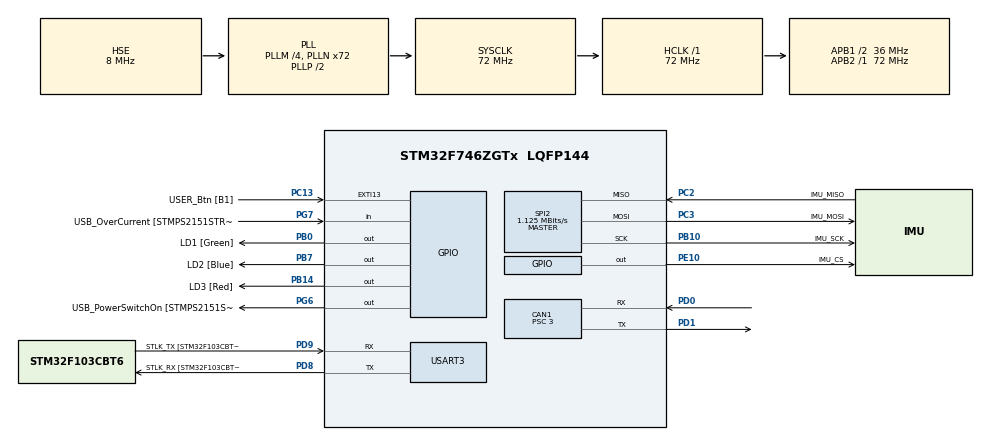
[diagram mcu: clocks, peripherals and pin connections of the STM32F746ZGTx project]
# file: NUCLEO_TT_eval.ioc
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CAN1.BS1=CAN_BS1_8TQ
CAN1.BS2=CAN_BS2_3TQ
CAN1.CalculateBaudRate=999999
CAN1.CalculateTimeBit=1000
CAN1.CalculateTimeQuantum=83.33333333333334
CAN1.Prescaler=3
CAN1.SJW=CAN_SJW_3TQ
IWDG.Reload=879
Mcu.Family=STM32F7
Mcu.Name=STM32F746ZGTx
Mcu.Package=LQFP144
NVIC.PriorityGroup=NVIC_PRIORITYGROUP_4
NVIC.TIM5_IRQn=true\:0\:0\:false\:false\:true\:true\:true\:true
NVIC.USART3_IRQn=true\:0\:0\:false\:false\:true\:true\:true\:true
PA1.GPIO_Label=RMII_REF_CLK [LAN8742A-CZ-TR_REFCLK0]
PA1.Signal=ETH_REF_CLK
PA10.GPIO_Label=USB_ID
PA10.Signal=USB_OTG_FS_ID
PA11.GPIO_Label=USB_DM
PA11.Signal=USB_OTG_FS_DM
PA12.GPIO_Label=USB_DP
PA12.Signal=USB_OTG_FS_DP
PA13.GPIO_Label=TMS
PA13.Mode=Serial_Wire
PA13.Signal=SYS_JTMS-SWDIO
PA14.GPIO_Label=TCK
PA14.Mode=Serial_Wire
PA14.Signal=SYS_JTCK-SWCLK
PA2.GPIO_Label=RMII_MDIO [LAN8742A-CZ-TR_MDIO]
PA2.Signal=ETH_MDIO
PA7.GPIO_Label=RMII_CRS_DV [LAN8742A-CZ-TR_CRS_DV]
PA7.Signal=ETH_CRS_DV
PA8.GPIO_Label=USB_SOF [TP1]
PA8.Signal=USB_OTG_FS_SOF
PA9.GPIO_Label=USB_VBUS
PA9.Signal=USB_OTG_FS_VBUS
PB0.GPIO_Label=LD1 [Green]
PB0.Signal=GPIO_Output
PB10.GPIO_Label=IMU_SCK
PB10.Mode=Full_Duplex_Master
PB10.Signal=SPI2_SCK
PB13.GPIO_Label=RMII_TXD1 [LAN8742A-CZ-TR_TXD1]
PB13.Signal=ETH_TXD1
PB14.GPIO_Label=LD3 [Red]
PB14.Signal=GPIO_Output
PB3.GPIO_Label=SW0
PB3.Signal=SYS_JTDO-SWO
PB7.GPIO_Label=LD2 [Blue]
PB7.Signal=GPIO_Output
PC1.GPIO_Label=RMII_MDC [LAN8742A-CZ-TR_MDC]
PC1.Signal=ETH_MDC
PC13.GPIO_Label=USER_Btn [B1]
PC13.Signal=GPXTI13
PC14/OSC32_IN.Mode=LSE-External-Oscillator
PC14/OSC32_IN.Signal=RCC_OSC32_IN
PC15/OSC32_OUT.Mode=LSE-External-Oscillator
PC15/OSC32_OUT.Signal=RCC_OSC32_OUT
PC2.GPIO_Label=IMU_MISO
PC2.Mode=Full_Duplex_Master
PC2.Signal=SPI2_MISO
PC3.GPIO_Label=IMU_MOSI
PC3.Mode=Full_Duplex_Master
PC3.Signal=SPI2_MOSI
PC4.GPIO_Label=RMII_RXD0 [LAN8742A-CZ-TR_RXD0]
PC4.Signal=ETH_RXD0
PC5.GPIO_Label=RMII_RXD1 [LAN8742A-CZ-TR_RXD1]
PC5.Signal=ETH_RXD1
PD0.Mode=CAN_Activate
PD0.Signal=CAN1_RX
PD1.Mode=CAN_Activate
PD1.Signal=CAN1_TX
PD8.GPIO_Label=STLK_RX [STM32F103CBT6_PA3]
PD8.GPIO_PuPd=GPIO_PULLUP
PD8.Mode=Asynchronous
PD8.Signal=USART3_TX
PD9.GPIO_Label=STLK_TX [STM32F103CBT6_PA2]
PD9.GPIO_PuPd=GPIO_PULLUP
PD9.Mode=Asynchronous
PD9.Signal=USART3_RX
PE10.GPIO_Label=IMU_CS
PE10.Signal=GPIO_Output
PG11.GPIO_Label=RMII_TX_EN [LAN8742A-CZ-TR_TXEN]
PG11.Signal=ETH_TX_EN
PG13.GPIO_Label=RMII_TXD0 [LAN8742A-CZ-TR_TXD0]
PG13.Signal=ETH_TXD0
PG6.GPIO_Label=USB_PowerSwitchOn [STMPS2151STR_EN]
PG6.Signal=GPIO_Output
PG7.GPIO_Label=USB_OverCurrent [STMPS2151STR_FAULT]
PG7.Signal=GPIO_Input
PH0/OSC_IN.GPIO_Label=MCO [STM32F103CBT6_PA8]
PH0/OSC_IN.Mode=HSE-External-Clock-Source
PH0/OSC_IN.Signal=RCC_OSC_IN
PH1/OSC_OUT.Mode=HSE-External-Clock-Source
PH1/OSC_OUT.Signal=RCC_OSC_OUT
ProjectManager.HeapSize=0x200
ProjectManager.StackSize=0x400
ProjectManager.TargetToolchain=STM32CubeIDE
RCC.48MHZClocksFreq_Value=24000000
RCC.AHBFreq_Value=72000000
RCC.APB1CLKDivider=RCC_HCLK_DIV2
RCC.APB1Freq_Value=36000000
RCC.APB1TimFreq_Value=72000000
RCC.APB2Freq_Value=72000000
RCC.APB2TimFreq_Value=72000000
RCC.CortexFreq_Value=72000000
RCC.HCLKFreq_Value=72000000
RCC.HSE_VALUE=8000000
RCC.HSI_VALUE=16000000
RCC.PLLM=4
RCC.PLLMUL=RCC_PLL_MUL9
RCC.PLLN=72
RCC.PLLQ=3
RCC.PLLSourceVirtual=RCC_PLLSOURCE_HSE
RCC.PRESCALERUSB=RCC_USBCLKSOURCE_PLL_DIV1_5
RCC.SYSCLKFreq_VALUE=72000000
RCC.SYSCLKSource=RCC_SYSCLKSOURCE_PLLCLK
RCC.SYSCLKSourceVirtual=RCC_SYSCLKSOURCE_PLLCLK
RCC.USBFreq_Value=48000000
RCC.VCOOutputFreq_Value=144000000
SPI2.BaudRatePrescaler=SPI_BAUDRATEPRESCALER_32
SPI2.CLKPhase=SPI_PHASE_2EDGE
SPI2.CalculateBaudRate=1.125 MBits/s
SPI2.DataSize=SPI_DATASIZE_8BIT
SPI2.Direction=SPI_DIRECTION_2LINES
SPI2.Mode=SPI_MODE_MASTER
SPI2.VirtualType=VM_MASTER
TIM5.Period=1000-1
TIM5.Prescaler=72-1
USART3.VirtualMode-Asynchronous=VM_ASYNC
VP_IWDG_VS_IWDG.Mode=IWDG_Activate
VP_TIM5_VS_ClockSourceINT.Mode=Internal
board=NUCLEO-F746ZG

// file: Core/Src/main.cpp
/* USER CODE BEGIN Header */
/**
  ******************************************************************************
  * @file           : main.c
  * @brief          : Main program body
  ******************************************************************************
  * @attention
  *
  * Copyright (c) 2024 STMicroelectronics.
  * All rights reserved.
  *
  * This software is licensed under terms that can  Sbe found in the LICENSE file
  * in the root directory of this software component.
  * If no LICENSE file comes with this software, it is provided AS-IS.
  *
  ******************************************************************************
  */
/* USER CODE END Header */
#include "main.h"

/* USER CODE BEGIN Includes */
#include "system.h"
#include "CNI.h"

#include "taskHeartbeat.h"
#include "taskWatchdog.h"
#include "taskIMUgetData.h"
#include "taskCNIsendData.h"

#include "timeTriggeredScheduler.h"
/* USER CODE END Includes */

/* USER CODE BEGIN PD */
#define LED_HEARTBEAT_GPIO_Port LD1_GPIO_Port
#define LED_HEARTBEAT_GPIO_Pin LD1_Pin

#define LED_FAIL_SILENT_GPIO_Port LD3_GPIO_Port
#define LED_FAIL_SILENT_GPIO_Pin LD3_Pin

#define HANDLE_MSG_CNI_SEND_IMU_DATA 1
/* USER CODE END PD */

CAN_HandleTypeDef hcan1;

SPI_HandleTypeDef hspi2;

TIM_HandleTypeDef htim5;

UART_HandleTypeDef huart3;

/* USER CODE BEGIN PV */
IWDG_HandleTypeDef hiwdg;

static myTimer_t myTimer5;
static myUART_t myUART3;

/* USER CODE END PV */

void SystemClock_Config(void);
static void MX_GPIO_Init(void);
static void MX_USART3_UART_Init(void);
static void MX_SPI2_Init(void);
static void MX_TIM5_Init(void);
static void MX_CAN1_Init(void);
/* USER CODE BEGIN PFP */

static void watchdog_config(void);

static void timer_5_period_elapsed_callback(TIM_HandleTypeDef *);
static void uart_3_new_data_callback(UART_HandleTypeDef*);
/* USER CODE END PFP */

int main(void)
{
  /* USER CODE BEGIN 1 */
  system_t theSystem;
  evBuffer theEventsQueue;
  event_t  theEvent;

  taskHeartbeat_t taskHeartbeat;
  taskWatchdog_t taskWatchdog;
  taskIMUgetData_t taskIMUgetData;
  taskCNIsendData_t taskCNIsendIMUdata;

  timeTriggeredScheduler_t theTTscheduler;

  uint16_t aux;

  /* USER CODE END 1 */

  /* MCU Configuration--------------------------------------------------------*/

  /* Reset of all peripherals, Initializes the Flash interface and the Systick. */
  HAL_Init();

  /* USER CODE BEGIN Init */
  watchdog_config();

  /* USER CODE END Init */

  /* Configure the system clock */
  SystemClock_Config();

  /* Initialize all configured peripherals */
  MX_GPIO_Init();
  MX_USART3_UART_Init();
  MX_SPI2_Init();
  MX_TIM5_Init();
  MX_CAN1_Init();
  /* USER CODE BEGIN 2 */

  // Inicialización de la IMU =====================================
  gpio imuCS(IMU_CS_GPIO_Port, IMU_CS_Pin);

  phandler_spi<> spi2(&hspi2, &imuCS, COMM_MODE::BLCK);

  ICM42688::config_FIFO icmFifoCnf =
  {
		  .watermark = 1,
		  .mode = ICM42688::FIFO_MODE::BYPASS,
  };

  ICM42688::config_INT icmIntCnf =
  {
			.int1Source = ICM42688::INT_SOURCE::DISABLED,
			.int1Mode = ICM42688::INT_MODE::DISABLED,
			//.int1Source = ICM42688::INT_SOURCE::DATA_RDY,
			//.int1Mode = ICM42688::INT_MODE::PULSED_PP_HIGH,
			.int2Source = ICM42688::INT_SOURCE::DISABLED,
			.int2Mode = ICM42688::INT_MODE::DISABLED,
  };

  ICM42688::Config icmCnf =
  {
		.gyroFSR 					= ICM42688::GYRO_CNF::FSR::FSR_250,
		.gyroODR 					= ICM42688::GYRO_CNF::ODR::ODR_1000,
		.accelFSR 					= ICM42688::ACCEL_CNF::FSR::FSR_4,
		.accelODR 					= ICM42688::ACCEL_CNF::ODR::ODR_1000,
		.fifoCnf					= icmFifoCnf,
		.intCnf						= icmIntCnf,
  };

  ICM42688::icm42688 imu(icmCnf, &spi2, &imuCS);

  // Inicialización del LED heartbeat==============================
  gpio ledHeartbeat(LED_HEARTBEAT_GPIO_Port, LED_HEARTBEAT_GPIO_Pin);

  // Inicialización de la CNI
  CNI_constructor(&hcan1);
  CNI_init();

  // Creación de las tareas========================================
  taskWatchdog_constructor(&taskWatchdog,
		  DELAY_TASK_WATCHDOG_TICKS_NORMAL,
		  PERIOD_TASK_WATCHDOG_TICKS_NORMAL,
		  WCET_TASK_WATCHDOG_US,
		  BCET_TASK_WATCHDOG_US,
		  &hiwdg);

  taskHeartbeat_constructor(&taskHeartbeat,
		  DELAY_TASK_HEARTBEAT_TICKS_NORMAL,
		  PERIOD_TASK_HEARTBEAT_TICKS_NORMAL,
		  WCET_TASK_HEARTBEAT_US,
		  BCET_TASK_HEARTBEAT_US,
		  &ledHeartbeat);

  taskIMUgetData_constructor(&taskIMUgetData,
		  DELAY_TASK_IMU_TICKS_NORMAL,
		  PERIOD_TASK_IMU_TICKS_NORMAL,
		  WCET_TASK_IMU_US,
		  BCET_TASK_IMU_US,
		  &imu, HANDLE_MSG_CNI_SEND_IMU_DATA);

  taskCNIsendData_constructor(&taskCNIsendIMUdata,
		  DELAY_TASK_CNI_SEND_IMU_TICKS_NORMAL,
		  PERIOD_TASK_CNI_SEND_IMU_TICKS_NORMAL,
		  WCET_TASK_CNI_SEND_IMU_US,
		  BCET_TASK_CNI_SEND_IMU_US,
		  HANDLE_MSG_CNI_SEND_IMU_DATA);

  // Inicialización del scheduler==================================
  myTimer_constructor(&myTimer5, &htim5);
  timeTriggeredScheduler_constructor(&theTTscheduler, &myTimer5);
  timeTriggeredScheduler_init(&theTTscheduler);
  timeTriggeredScheduler_add_task(&theTTscheduler, (timeTriggeredTask_t*)&taskHeartbeat);
  timeTriggeredScheduler_add_task(&theTTscheduler, (timeTriggeredTask_t*)&taskWatchdog);
  timeTriggeredScheduler_add_task(&theTTscheduler, (timeTriggeredTask_t*)&taskIMUgetData);
  timeTriggeredScheduler_add_task(&theTTscheduler, (timeTriggeredTask_t*)&taskCNIsendIMUdata);

  // Inicialización del sistema general============================
  gpio ledFailSilent(LED_FAIL_SILENT_GPIO_Port, LED_FAIL_SILENT_GPIO_Pin);
  myUART_constructor(&myUART3, &huart3);
  system_constructor(&theSystem, &theEventsQueue, &theTTscheduler, &myUART3, &ledFailSilent);
  stateMachine_init((stateMachine_t*)&theSystem);

  /* USER CODE END 2 */

  /* Infinite loop */
  while (1)
  {

    /* USER CODE BEGIN 3 */

	  // Se verifica si hay nuevos mensajes a procesar
	  if( (aux = system_has_new_msg(&theSystem)) )
	  {
		  theEventsQueue.write(EV_SYSTEM_NEW_MSG);
	  }

	  // Si hay eventos en la queue ==> se toma 1 y se dispatchea
	  if(!theEventsQueue.is_empty())
	  {
		  theEventsQueue.read(&theEvent);
		  stateMachine_dispatch((stateMachine_t*)&theSystem, theEvent);
	  }
  }
  /* USER CODE END 3 */
}

void SystemClock_Config(void)
{
  RCC_OscInitTypeDef RCC_OscInitStruct = {0};
  RCC_ClkInitTypeDef RCC_ClkInitStruct = {0};

  /** Configure LSE Drive Capability
  */
  HAL_PWR_EnableBkUpAccess();

  /** Configure the main internal regulator output voltage
  */
  __HAL_RCC_PWR_CLK_ENABLE();
  __HAL_PWR_VOLTAGESCALING_CONFIG(PWR_REGULATOR_VOLTAGE_SCALE3);

  /** Initializes the RCC Oscillators according to the specified parameters
  * in the RCC_OscInitTypeDef structure.
  */
  RCC_OscInitStruct.OscillatorType = RCC_OSCILLATORTYPE_LSI|RCC_OSCILLATORTYPE_HSE;
  RCC_OscInitStruct.HSEState = RCC_HSE_BYPASS;
  RCC_OscInitStruct.LSIState = RCC_LSI_ON;
  RCC_OscInitStruct.PLL.PLLState = RCC_PLL_ON;
  RCC_OscInitStruct.PLL.PLLSource = RCC_PLLSOURCE_HSE;
  RCC_OscInitStruct.PLL.PLLM = 4;
  RCC_OscInitStruct.PLL.PLLN = 72;
  RCC_OscInitStruct.PLL.PLLP = RCC_PLLP_DIV2;
  RCC_OscInitStruct.PLL.PLLQ = 3;
  if (HAL_RCC_OscConfig(&RCC_OscInitStruct) != HAL_OK)
  {
    Error_Handler();
  }

  /** Initializes the CPU, AHB and APB buses clocks
  */
  RCC_ClkInitStruct.ClockType = RCC_CLOCKTYPE_HCLK|RCC_CLOCKTYPE_SYSCLK
                              |RCC_CLOCKTYPE_PCLK1|RCC_CLOCKTYPE_PCLK2;
  RCC_ClkInitStruct.SYSCLKSource = RCC_SYSCLKSOURCE_PLLCLK;
  RCC_ClkInitStruct.AHBCLKDivider = RCC_SYSCLK_DIV1;
  RCC_ClkInitStruct.APB1CLKDivider = RCC_HCLK_DIV2;
  RCC_ClkInitStruct.APB2CLKDivider = RCC_HCLK_DIV1;

  if (HAL_RCC_ClockConfig(&RCC_ClkInitStruct, FLASH_LATENCY_2) != HAL_OK)
  {
    Error_Handler();
  }
}

static void MX_CAN1_Init(void)
{

  hcan1.Instance = CAN1;
  hcan1.Init.Prescaler = 3;
  hcan1.Init.Mode = CAN_MODE_NORMAL;
  hcan1.Init.SyncJumpWidth = CAN_SJW_3TQ;
  hcan1.Init.TimeSeg1 = CAN_BS1_8TQ;
  hcan1.Init.TimeSeg2 = CAN_BS2_3TQ;
  hcan1.Init.TimeTriggeredMode = DISABLE;
  hcan1.Init.AutoBusOff = DISABLE;
  hcan1.Init.AutoWakeUp = DISABLE;
  hcan1.Init.AutoRetransmission = DISABLE;
  hcan1.Init.ReceiveFifoLocked = DISABLE;
  hcan1.Init.TransmitFifoPriority = DISABLE;
  if (HAL_CAN_Init(&hcan1) != HAL_OK)
  {
    Error_Handler();
  }

}

static void MX_SPI2_Init(void)
{

  /* SPI2 parameter configuration*/
  hspi2.Instance = SPI2;
  hspi2.Init.Mode = SPI_MODE_MASTER;
  hspi2.Init.Direction = SPI_DIRECTION_2LINES;
  hspi2.Init.DataSize = SPI_DATASIZE_8BIT;
  hspi2.Init.CLKPolarity = SPI_POLARITY_LOW;
  hspi2.Init.CLKPhase = SPI_PHASE_2EDGE;
  hspi2.Init.NSS = SPI_NSS_SOFT;
  hspi2.Init.BaudRatePrescaler = SPI_BAUDRATEPRESCALER_32;
  hspi2.Init.FirstBit = SPI_FIRSTBIT_MSB;
  hspi2.Init.TIMode = SPI_TIMODE_DISABLE;
  hspi2.Init.CRCCalculation = SPI_CRCCALCULATION_DISABLE;
  hspi2.Init.CRCPolynomial = 7;
  hspi2.Init.CRCLength = SPI_CRC_LENGTH_DATASIZE;
  hspi2.Init.NSSPMode = SPI_NSS_PULSE_DISABLE;
  if (HAL_SPI_Init(&hspi2) != HAL_OK)
  {
    Error_Handler();
  }

}

static void MX_TIM5_Init(void)
{

  TIM_ClockConfigTypeDef sClockSourceConfig = {0};
  TIM_MasterConfigTypeDef sMasterConfig = {0};

  htim5.Instance = TIM5;
  htim5.Init.Prescaler = 72-1;
  htim5.Init.CounterMode = TIM_COUNTERMODE_UP;
  htim5.Init.Period = 1000-1;
  htim5.Init.ClockDivision = TIM_CLOCKDIVISION_DIV1;
  htim5.Init.AutoReloadPreload = TIM_AUTORELOAD_PRELOAD_DISABLE;
  if (HAL_TIM_Base_Init(&htim5) != HAL_OK)
  {
    Error_Handler();
  }
  sClockSourceConfig.ClockSource = TIM_CLOCKSOURCE_INTERNAL;
  if (HAL_TIM_ConfigClockSource(&htim5, &sClockSourceConfig) != HAL_OK)
  {
    Error_Handler();
  }
  sMasterConfig.MasterOutputTrigger = TIM_TRGO_RESET;
  sMasterConfig.MasterSlaveMode = TIM_MASTERSLAVEMODE_DISABLE;
  if (HAL_TIMEx_MasterConfigSynchronization(&htim5, &sMasterConfig) != HAL_OK)
  {
    Error_Handler();
  }
  /* USER CODE BEGIN TIM5_Init 2 */
  HAL_TIM_RegisterCallback(&htim5, HAL_TIM_PERIOD_ELAPSED_CB_ID, timer_5_period_elapsed_callback);
  /* USER CODE END TIM5_Init 2 */

}

static void MX_USART3_UART_Init(void)
{

  huart3.Instance = USART3;
  huart3.Init.BaudRate = 115200;
  huart3.Init.WordLength = UART_WORDLENGTH_8B;
  huart3.Init.StopBits = UART_STOPBITS_1;
  huart3.Init.Parity = UART_PARITY_NONE;
  huart3.Init.Mode = UART_MODE_TX_RX;
  huart3.Init.HwFlowCtl = UART_HWCONTROL_NONE;
  huart3.Init.OverSampling = UART_OVERSAMPLING_16;
  huart3.Init.OneBitSampling = UART_ONE_BIT_SAMPLE_DISABLE;
  huart3.AdvancedInit.AdvFeatureInit = UART_ADVFEATURE_NO_INIT;
  if (HAL_UART_Init(&huart3) != HAL_OK)
  {
    Error_Handler();
  }
  /* USER CODE BEGIN USART3_Init 2 */
  HAL_UART_RegisterCallback(&huart3, HAL_UART_RX_COMPLETE_CB_ID, &uart_3_new_data_callback);
  /* USER CODE END USART3_Init 2 */

}

static void MX_GPIO_Init(void)
{
  GPIO_InitTypeDef GPIO_InitStruct = {0};

  /* GPIO Ports Clock Enable */
  __HAL_RCC_GPIOC_CLK_ENABLE();
  __HAL_RCC_GPIOH_CLK_ENABLE();
  __HAL_RCC_GPIOA_CLK_ENABLE();
  __HAL_RCC_GPIOB_CLK_ENABLE();
  __HAL_RCC_GPIOE_CLK_ENABLE();
  __HAL_RCC_GPIOD_CLK_ENABLE();
  __HAL_RCC_GPIOG_CLK_ENABLE();

  /*Configure GPIO pin Output Level */
  HAL_GPIO_WritePin(GPIOB, LD1_Pin|LD3_Pin|LD2_Pin, GPIO_PIN_RESET);

  /*Configure GPIO pin Output Level */
  HAL_GPIO_WritePin(IMU_CS_GPIO_Port, IMU_CS_Pin, GPIO_PIN_RESET);

  /*Configure GPIO pin Output Level */
  HAL_GPIO_WritePin(USB_PowerSwitchOn_GPIO_Port, USB_PowerSwitchOn_Pin, GPIO_PIN_RESET);

  /*Configure GPIO pin : USER_Btn_Pin */
  GPIO_InitStruct.Pin = USER_Btn_Pin;
  GPIO_InitStruct.Mode = GPIO_MODE_IT_RISING;
  GPIO_InitStruct.Pull = GPIO_NOPULL;
  HAL_GPIO_Init(USER_Btn_GPIO_Port, &GPIO_InitStruct);

  /*Configure GPIO pins : RMII_MDC_Pin RMII_RXD0_Pin RMII_RXD1_Pin */
  GPIO_InitStruct.Pin = RMII_MDC_Pin|RMII_RXD0_Pin|RMII_RXD1_Pin;
  GPIO_InitStruct.Mode = GPIO_MODE_AF_PP;
  GPIO_InitStruct.Pull = GPIO_NOPULL;
  GPIO_InitStruct.Speed = GPIO_SPEED_FREQ_VERY_HIGH;
  GPIO_InitStruct.Alternate = GPIO_AF11_ETH;
  HAL_GPIO_Init(GPIOC, &GPIO_InitStruct);

  /*Configure GPIO pins : RMII_REF_CLK_Pin RMII_MDIO_Pin RMII_CRS_DV_Pin */
  GPIO_InitStruct.Pin = RMII_REF_CLK_Pin|RMII_MDIO_Pin|RMII_CRS_DV_Pin;
  GPIO_InitStruct.Mode = GPIO_MODE_AF_PP;
  GPIO_InitStruct.Pull = GPIO_NOPULL;
  GPIO_InitStruct.Speed = GPIO_SPEED_FREQ_VERY_HIGH;
  GPIO_InitStruct.Alternate = GPIO_AF11_ETH;
  HAL_GPIO_Init(GPIOA, &GPIO_InitStruct);

  /*Configure GPIO pins : LD1_Pin LD3_Pin LD2_Pin */
  GPIO_InitStruct.Pin = LD1_Pin|LD3_Pin|LD2_Pin;
  GPIO_InitStruct.Mode = GPIO_MODE_OUTPUT_PP;
  GPIO_InitStruct.Pull = GPIO_NOPULL;
  GPIO_InitStruct.Speed = GPIO_SPEED_FREQ_LOW;
  HAL_GPIO_Init(GPIOB, &GPIO_InitStruct);

  /*Configure GPIO pin : IMU_CS_Pin */
  GPIO_InitStruct.Pin = IMU_CS_Pin;
  GPIO_InitStruct.Mode = GPIO_MODE_OUTPUT_PP;
  GPIO_InitStruct.Pull = GPIO_NOPULL;
  GPIO_InitStruct.Speed = GPIO_SPEED_FREQ_LOW;
  HAL_GPIO_Init(IMU_CS_GPIO_Port, &GPIO_InitStruct);

  /*Configure GPIO pin : RMII_TXD1_Pin */
  GPIO_InitStruct.Pin = RMII_TXD1_Pin;
  GPIO_InitStruct.Mode = GPIO_MODE_AF_PP;
  GPIO_InitStruct.Pull = GPIO_NOPULL;
  GPIO_InitStruct.Speed = GPIO_SPEED_FREQ_VERY_HIGH;
  GPIO_InitStruct.Alternate = GPIO_AF11_ETH;
  HAL_GPIO_Init(RMII_TXD1_GPIO_Port, &GPIO_InitStruct);

  /*Configure GPIO pin : USB_PowerSwitchOn_Pin */
  GPIO_InitStruct.Pin = USB_PowerSwitchOn_Pin;
  GPIO_InitStruct.Mode = GPIO_MODE_OUTPUT_PP;
  GPIO_InitStruct.Pull = GPIO_NOPULL;
  GPIO_InitStruct.Speed = GPIO_SPEED_FREQ_LOW;
  HAL_GPIO_Init(USB_PowerSwitchOn_GPIO_Port, &GPIO_InitStruct);

  /*Configure GPIO pin : USB_OverCurrent_Pin */
  GPIO_InitStruct.Pin = USB_OverCurrent_Pin;
  GPIO_InitStruct.Mode = GPIO_MODE_INPUT;
  GPIO_InitStruct.Pull = GPIO_NOPULL;
  HAL_GPIO_Init(USB_OverCurrent_GPIO_Port, &GPIO_InitStruct);

  /*Configure GPIO pins : USB_SOF_Pin USB_ID_Pin USB_DM_Pin USB_DP_Pin */
  GPIO_InitStruct.Pin = USB_SOF_Pin|USB_ID_Pin|USB_DM_Pin|USB_DP_Pin;
  GPIO_InitStruct.Mode = GPIO_MODE_AF_PP;
  GPIO_InitStruct.Pull = GPIO_NOPULL;
  GPIO_InitStruct.Speed = GPIO_SPEED_FREQ_VERY_HIGH;
  GPIO_InitStruct.Alternate = GPIO_AF10_OTG_FS;
  HAL_GPIO_Init(GPIOA, &GPIO_InitStruct);

  /*Configure GPIO pin : USB_VBUS_Pin */
  GPIO_InitStruct.Pin = USB_VBUS_Pin;
  GPIO_InitStruct.Mode = GPIO_MODE_INPUT;
  GPIO_InitStruct.Pull = GPIO_NOPULL;
  HAL_GPIO_Init(USB_VBUS_GPIO_Port, &GPIO_InitStruct);

  /*Configure GPIO pins : RMII_TX_EN_Pin RMII_TXD0_Pin */
  GPIO_InitStruct.Pin = RMII_TX_EN_Pin|RMII_TXD0_Pin;
  GPIO_InitStruct.Mode = GPIO_MODE_AF_PP;
  GPIO_InitStruct.Pull = GPIO_NOPULL;
  GPIO_InitStruct.Speed = GPIO_SPEED_FREQ_VERY_HIGH;
  GPIO_InitStruct.Alternate = GPIO_AF11_ETH;
  HAL_GPIO_Init(GPIOG, &GPIO_InitStruct);

}

/* USER CODE BEGIN 4 */

static void watchdog_config(void)
{
	hiwdg.Instance = IWDG;
	hiwdg.Init.Prescaler = IWDG_PRESCALER_4;
	hiwdg.Init.Window = 4095;
	hiwdg.Init.Reload = 8;
}

static void timer_5_period_elapsed_callback(TIM_HandleTypeDef *htim)
{
	subject_notify((subject_t*)&myTimer5);
}

static void uart_3_new_data_callback(UART_HandleTypeDef *huart)
{
	myUART_IRQ_handler(&myUART3);
}

/*void HAL_UART_RxCpltCallback(UART_HandleTypeDef *huart)
{
	//myUART_disable_rx(&myUART3);
	myUART_IRQ_handler(&myUART3);
}*/

/* USER CODE END 4 */

void Error_Handler(void)
{
  __disable_irq();
  while (1)
  {
  }
}
